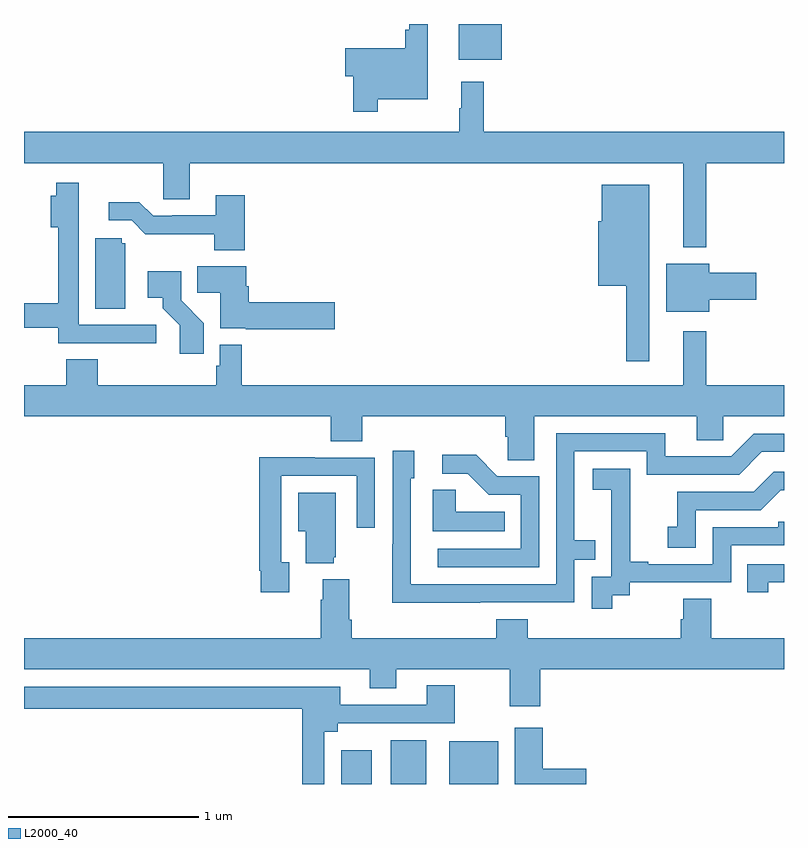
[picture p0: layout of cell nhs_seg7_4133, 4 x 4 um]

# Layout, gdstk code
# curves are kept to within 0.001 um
import gdstk
lib = gdstk.Library(unit=1e-6, precision=1e-09)
def R(c, l, rs):  # rectangles x0, y0, x1, y1
    for r in rs: c.add(gdstk.rectangle(r[:2], r[2:], *l))
def P(c, l, *ps):  # polygons
    for p in ps: c.add(gdstk.Polygon(p, *l))
L2000_40 = (2000, 40)

nhs_seg7_4133 = lib.new_cell('nhs_seg7_4133')
R(nhs_seg7_4133, L2000_40, [(374.669,1012,374.83,1012.177), (374.93,1012,375.118,1012.231), (375.239,1012,375.496,1012.225), (375.287,1015.811,375.514,1016)])
P(nhs_seg7_4133, L2000_40, [(374.863,1015.604),(375.124,1015.604),(375.124,1016),(375.027,1016),(375.027,1015.969),(375.007,1015.969),(375.007,1015.873),(374.69,1015.873),(374.69,1015.726),(374.734,1015.726),(374.734,1015.539),(374.863,1015.539)],
  [(376.591,1015.268),(377,1015.268),(377,1015.432),(375.419,1015.432),(375.419,1015.696),(375.302,1015.696),(375.302,1015.556),(375.291,1015.556),(375.291,1015.432),(373,1015.432),(373,1015.268),(373.734,1015.268),(373.734,1015.078),(373.873,1015.078),(373.873,1015.268),(376.469,1015.268),(376.469,1014.824),(376.591,1014.824)],
  [(373.696,1014.417),(373.287,1014.417),(373.287,1014.942),(373.288,1014.942),(373.288,1015.165),(373.171,1015.165),(373.171,1015.096),(373.142,1015.096),(373.142,1014.931),(373.179,1014.931),(373.179,1014.53),(373,1014.53),(373,1014.402),(373.179,1014.402),(373.179,1014.321),(373.471,1014.321),(373.471,1014.319),(373.696,1014.319)],
  [(376.291,1015.153),(376.04,1015.153),(376.04,1014.963),(376.022,1014.963),(376.022,1014.623),(376.17,1014.623),(376.17,1014.225),(376.291,1014.225)],
  [(374.162,1015.099),(374.009,1015.099),(374.009,1014.993),(373.78,1014.993),(373.78,1014.99),(373.68,1014.99),(373.607,1015.063),(373.446,1015.063),(373.446,1014.966),(373.566,1014.966),(373.639,1014.893),(374.002,1014.894),(374.002,1014.809),(374.162,1014.809)],
  [(373.534,1014.846),(373.515,1014.846),(373.515,1014.873),(373.376,1014.873),(373.376,1014.502),(373.534,1014.502)],
  [(376.606,1014.55),(376.855,1014.55),(376.855,1014.692),(376.606,1014.692),(376.606,1014.739),(376.379,1014.739),(376.379,1014.485),(376.606,1014.485)],
  [(374.635,1014.536),(374.183,1014.536),(374.183,1014.62),(374.17,1014.62),(374.17,1014.724),(373.912,1014.724),(373.912,1014.586),(374.033,1014.586),(374.033,1014.398),(374.166,1014.398),(374.166,1014.394),(374.635,1014.394)],
  [(373.946,1014.426),(373.827,1014.545),(373.827,1014.7),(373.65,1014.7),(373.65,1014.56),(373.73,1014.56),(373.73,1014.505),(373.821,1014.415),(373.821,1014.264),(373.946,1014.264)],
  [(375.685,1013.936),(376.541,1013.936),(376.541,1013.809),(376.68,1013.809),(376.68,1013.936),(377,1013.936),(377,1014.1),(376.591,1014.1),(376.591,1014.382),(376.469,1014.382),(376.469,1014.1),(374.147,1014.1),(374.147,1014.313),(374.031,1014.313),(374.031,1014.201),(374.011,1014.201),(374.011,1014.1),(373.388,1014.1),(373.388,1014.236),(373.223,1014.236),(373.223,1014.1),(373,1014.1),(373,1013.936),(374.615,1013.936),(374.615,1013.803),(374.78,1013.803),(374.78,1013.936),(375.533,1013.936),(375.533,1013.827),(375.546,1013.827),(375.546,1013.704),(375.685,1013.704)],
  [(375.401,1012.956),(375.897,1012.956),(375.897,1013.181),(376.007,1013.181),(376.007,1013.282),(375.897,1013.282),(375.897,1013.751),(376.278,1013.751),(376.278,1013.628),(376.764,1013.628),(376.884,1013.748),(377,1013.748),(377,1013.844),(376.842,1013.844),(376.722,1013.724),(376.375,1013.724),(376.375,1013.847),(375.801,1013.847),(375.801,1013.052),(375.036,1013.052),(375.036,1013.61),(375.055,1013.61),(375.055,1013.755),(374.94,1013.755),(374.94,1013.261),(374.938,1013.261),(374.938,1012.955)],
  [(375.711,1013.619),(375.492,1013.619),(375.379,1013.732),(375.201,1013.732),(375.201,1013.634),(375.335,1013.634),(375.446,1013.523),(375.615,1013.523),(375.615,1013.238),(375.177,1013.238),(375.177,1013.142),(375.711,1013.142)],
  [(374.395,1013.166),(374.355,1013.166),(374.355,1013.622),(374.751,1013.622),(374.751,1013.349),(374.847,1013.349),(374.847,1013.718),(374.531,1013.718),(374.531,1013.72),(374.239,1013.72),(374.239,1013.122),(374.247,1013.122),(374.247,1013.01),(374.395,1013.01)],
  [(376.096,1012.993),(376.188,1012.993),(376.188,1013.061),(376.722,1013.061),(376.722,1013.256),(377,1013.256),(377,1013.379),(376.971,1013.379),(376.971,1013.352),(376.626,1013.352),(376.626,1013.157),(376.285,1013.157),(376.285,1013.17),(376.19,1013.17),(376.19,1013.453),(376.191,1013.453),(376.191,1013.659),(375.993,1013.659),(375.993,1013.549),(376.091,1013.549),(376.091,1013.321),(376.092,1013.321),(376.092,1013.091),(375.987,1013.091),(375.987,1012.923),(376.096,1012.923)],
  [(376.536,1013.442),(376.878,1013.442),(376.982,1013.546),(377,1013.546),(377,1013.643),(376.946,1013.643),(376.841,1013.538),(376.438,1013.538),(376.438,1013.353),(376.389,1013.353),(376.389,1013.244),(376.536,1013.244)],
  [(375.53,1013.434),(375.273,1013.434),(375.273,1013.549),(375.152,1013.549),(375.152,1013.33),(375.53,1013.33)],
  [(374.63,1013.193),(374.641,1013.193),(374.641,1013.533),(374.444,1013.533),(374.444,1013.33),(374.483,1013.33),(374.483,1013.162),(374.63,1013.162)],
  [(376.918,1013.061),(377,1013.061),(377,1013.157),(376.807,1013.157),(376.807,1013.01),(376.918,1013.01)],
  [(375.716,1012.604),(377,1012.604),(377,1012.768),(376.617,1012.768),(376.617,1012.976),(376.469,1012.976),(376.469,1012.866),(376.457,1012.866),(376.457,1012.768),(375.65,1012.768),(375.65,1012.867),(375.485,1012.867),(375.485,1012.768),(374.726,1012.768),(374.726,1012.864),(374.713,1012.864),(374.713,1013.077),(374.573,1013.077),(374.573,1012.97),(374.561,1012.97),(374.561,1012.768),(373,1012.768),(373,1012.604),(374.819,1012.604),(374.819,1012.505),(374.959,1012.505),(374.959,1012.604),(375.556,1012.604),(375.556,1012.41),(375.716,1012.41)],
  [(374.58,1012.274),(374.65,1012.274),(374.65,1012.32),(375.267,1012.32),(375.267,1012.519),(375.119,1012.519),(375.119,1012.416),(374.665,1012.416),(374.665,1012.512),(373,1012.512),(373,1012.396),(374.464,1012.396),(374.464,1012),(374.58,1012)],
  [(375.958,1012.081),(375.731,1012.081),(375.731,1012.297),(375.584,1012.297),(375.584,1012),(375.958,1012)])

lib.write_gds('nhs_seg7_4133.gds')
